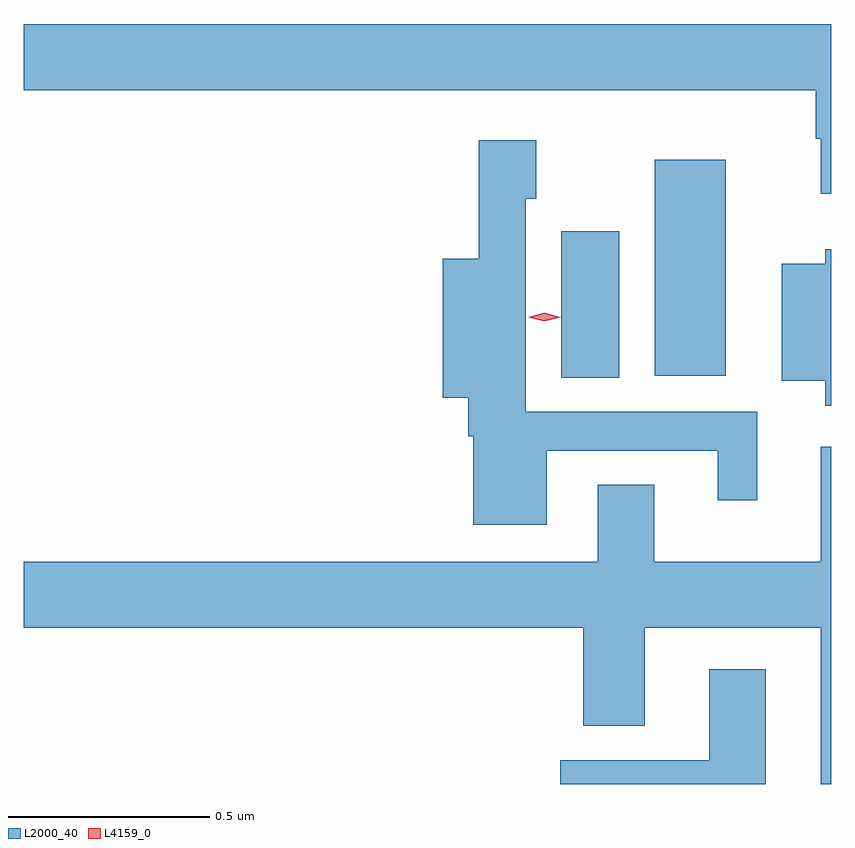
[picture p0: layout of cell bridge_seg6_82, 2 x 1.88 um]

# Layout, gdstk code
import gdstk
lib = gdstk.Library(unit=1e-6, precision=1e-09)
def R(c, l, rs):  # rectangles x0, y0, x1, y1
    for r in rs: c.add(gdstk.rectangle(r[:2], r[2:], *l))
def P(c, l, *ps):  # polygons
    for p in ps: c.add(gdstk.Polygon(p, *l))
L2000_40 = (2000, 40)
L4159_0 = (4159, 0)

bridge_seg6_82 = lib.new_cell('bridge_seg6_82')
R(bridge_seg6_82, L2000_40, [(743.441,933.304,743.584,933.667), (743.672,933.308,743.848,933.844)])
P(bridge_seg6_82, L2000_40, [(744.109,934.18),(742.109,934.18),(742.109,934.016),(744.071,934.016),(744.071,933.896),(744.083,933.896),(744.083,933.759),(744.109,933.759)],
  [(743.404,933.123),(743.828,933.123),(743.828,933),(743.926,933),(743.926,933.219),(743.353,933.219),(743.353,933.494),(743.352,933.494),(743.352,933.747),(743.379,933.747),(743.379,933.892),(743.236,933.892),(743.236,933.598),(743.147,933.598),(743.147,933.254),(743.21,933.254),(743.21,933.158),(743.222,933.158),(743.222,932.939),(743.404,932.939)],
  [(744.109,933.622),(744.095,933.622),(744.095,933.586),(743.987,933.586),(743.987,933.296),(744.095,933.296),(744.095,933.234),(744.109,933.234)],
  [(744.109,933.133),(744.083,933.133),(744.083,932.848),(743.671,932.848),(743.671,933.038),(743.531,933.038),(743.531,932.848),(742.109,932.848),(742.109,932.684),(743.495,932.684),(743.495,932.441),(743.647,932.441),(743.647,932.684),(744.083,932.684),(744.083,932.297),(744.109,932.297)],
  [(743.947,932.581),(743.807,932.581),(743.807,932.356),(743.438,932.356),(743.438,932.297),(743.947,932.297)])
P(bridge_seg6_82, L4159_0, [(743.398,933.444),(743.359,933.453),(743.359,933.453),(743.359,933.453),(743.398,933.464),(743.438,933.454),(743.438,933.454),(743.438,933.454)])

lib.write_gds('bridge_seg6_82.gds')
